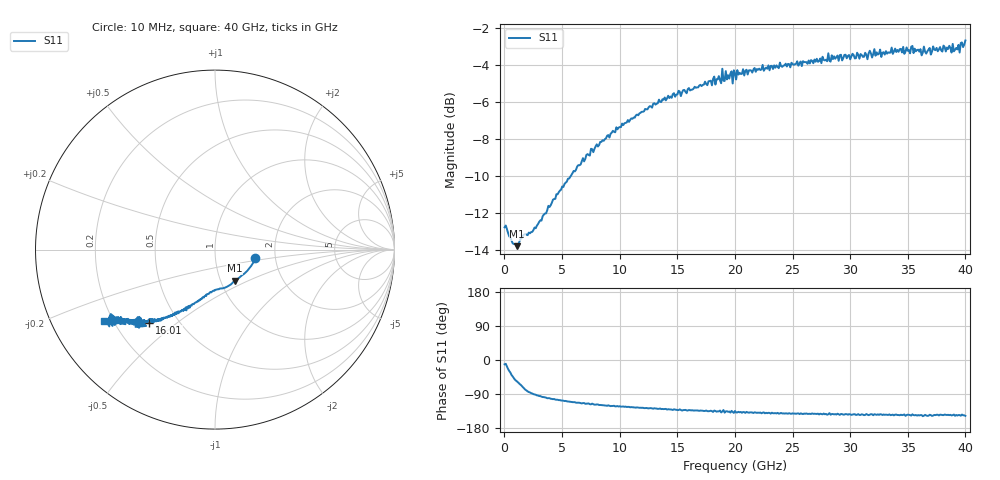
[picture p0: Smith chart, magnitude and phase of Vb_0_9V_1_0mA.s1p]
!Agilent Technologies,N5247A,US51170167,A.09.90.10
!Agilent N5247A: A.09.90.10
!Date: Tuesday, November 22, 2016 15:30:58
!Correction: S22(Full 1 Port(2))
!S1P File: Measurement: S22:
# Hz S  RI  R 50
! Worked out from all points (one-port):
!   401 points, 10 MHz to 40 GHz, reference 50 ohm
!   lowest |S11| = -13.8 dB at 1.11 GHz (marker M1), VSWR 1.51, Z = 58.2 - j20.9 ohm
!   |S11| at or under -10 dB: start of sweep to 5.755 GHz
!   S11 on the Smith chart (normalised r, x): 10 MHz: 1.57, -0.15; 16.01 GHz: 0.34, -0.40; 40 GHz: 0.16, -0.29
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1e7  0.2249 -0.0457
3.09925e8  0.2028 -0.0893
7.09825e8  0.1513 -0.1423
1.109725e9  0.1094 -0.1722
1.709575e9  0.0535 -0.2128
2.309425e9  0.0101 -0.2225
5.00875e9  -0.0859 -0.2834
7.308175e9  -0.1508 -0.3275
1.00075e10  -0.2284 -0.3634
1.32067e10  -0.307 -0.3904
1.500625e10  -0.3523 -0.3908
1.6006e10  -0.367 -0.4064
1.860535e10  -0.4214 -0.4126
1.910522e10  -0.4309 -0.3763
2.0005e10  -0.4221 -0.4277
2.12047e10  -0.4621 -0.4002
2.500375e10  -0.4929 -0.4026
2.830292e10  -0.5242 -0.3769
3.00025e10  -0.5256 -0.3907
3.100225e10  -0.5396 -0.4023
3.190202e10  -0.5323 -0.3944
3.500125e10  -0.5611 -0.403
3.52012e10  -0.5595 -0.3866
3.650088e10  -0.561 -0.396
3.80005e10  -0.5652 -0.3916
3.900025e10  -0.557 -0.4049
3.970008e10  -0.5888 -0.4278
4e10  -0.6208 -0.397
